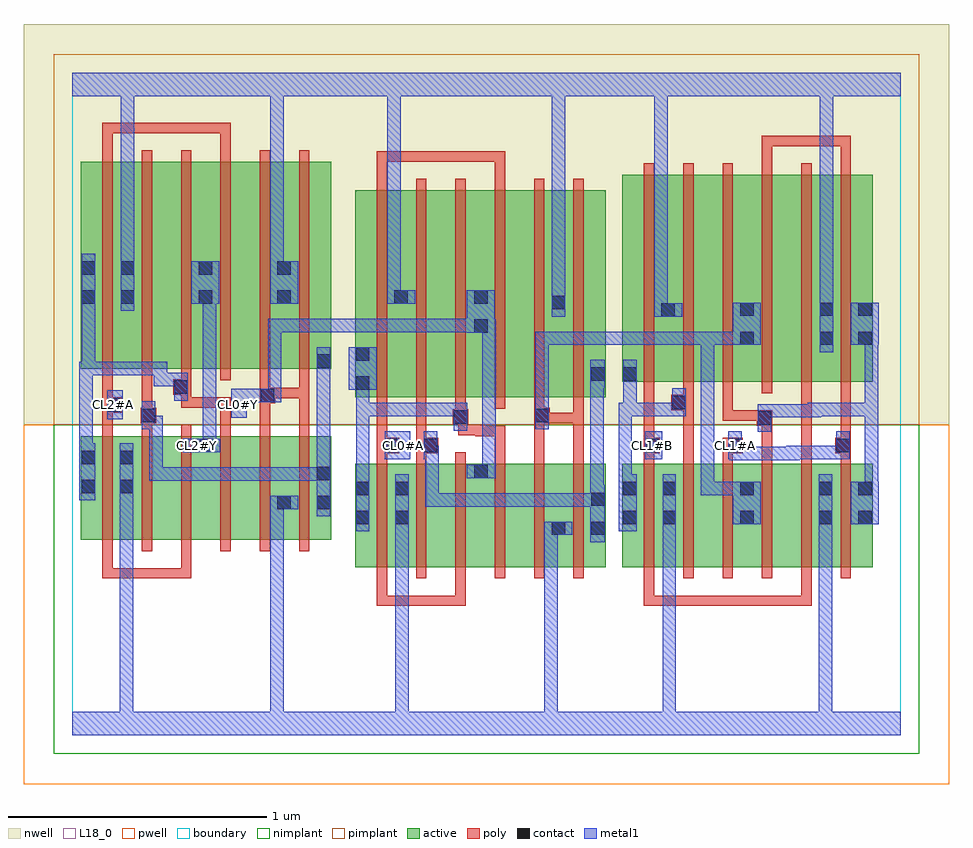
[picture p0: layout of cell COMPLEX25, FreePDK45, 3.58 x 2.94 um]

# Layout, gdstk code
import gdstk
lib = gdstk.Library(unit=1e-6, precision=1e-09)
def R(c, l, rs):  # rectangles x0, y0, x1, y1
    for r in rs: c.add(gdstk.rectangle(r[:2], r[2:], *l))
def A(c, l, x, y, w, h, nx, ny, dx, dy):  # array of equal rectangles
    R(c, l, [(x+i*dx, y+j*dy, x+i*dx+w, y+j*dy+h) for i in range(nx) for j in range(ny)])
active = (1, 0)
pwell = (2, 0)
nwell = (3, 0)
nimplant = (4, 0)
pimplant = (5, 0)
poly = (9, 0)
contact = (10, 0)
metal1 = (11, 0)
L18_0 = (18, 0)
boundary = (235, 0)

complex25 = lib.new_cell('COMPLEX25')
R(complex25, active, [(1.092,0.65,1.304,1.05), (1.244,0.65,1.424,1.05), (1.424,0.65,1.608,1.05), (1.548,0.65,1.728,1.05), (1.728,0.65,1.908,1.05), (1.848,0.65,2.06,1.05), (1.848,0.65,1.908,0.83), (2.124,0.65,2.336,1.05), (2.276,0.65,2.456,1.05), (2.276,0.65,2.336,0.984), (2.456,0.65,2.636,1.05), (2.576,0.65,2.76,1.05), (2.76,0.65,2.94,1.05), (2.88,0.65,3.092,1.05), (0.032,0.756,0.092,1.156), (0.032,0.756,0.24,1.156), (0.18,0.756,0.364,1.156), (0.18,0.756,0.24,1.104), (0.364,0.756,0.548,1.156), (0.488,0.756,0.668,1.156), (0.488,0.756,0.548,1.156), (0.668,0.756,0.848,1.156), (0.788,0.756,1,1.156), (0.788,0.756,0.848,1.156), (0.94,0.756,1,1.156), (1.092,0.756,1.152,1.05), (1.244,0.756,1.304,0.984), (1.548,0.756,1.608,1.05), (2,0.756,2.06,1.05), (2.124,0.756,2.184,1.05), (2.576,0.756,2.636,0.984), (2.88,0.756,2.94,0.984), (3.032,0.756,3.092,1.05), (1.092,1.306,1.3,2.106), (1.092,1.306,1.152,2.044), (1.24,1.306,1.424,2.106), (1.424,1.306,1.608,2.106), (1.548,1.306,1.728,2.106), (1.548,1.306,1.608,2.044), (1.728,1.306,1.908,2.106), (1.848,1.306,2.06,2.106), (2,1.306,2.06,2.044), (1.24,1.34,1.3,2.044), (2.124,1.366,2.184,2.044), (2.124,1.366,2.332,2.166), (2.272,1.366,2.456,2.166), (2.456,1.366,2.636,2.166), (2.576,1.366,2.76,2.166), (2.76,1.366,2.944,2.166), (2.884,1.366,3.092,2.166), (3.032,1.366,3.092,2.044), (1.848,1.372,1.908,2.044), (0.032,1.416,0.244,2.216), (0.032,1.416,0.092,2.044), (0.184,1.416,0.364,2.216), (0.364,1.416,0.544,2.216), (0.484,1.416,0.668,2.216), (0.668,1.416,0.848,2.216), (0.788,1.416,1,2.216), (0.94,1.416,1,2.044), (2.576,1.504,2.636,2.044), (2.884,1.504,2.944,2.044), (2.272,1.614,2.332,2.044), (0.184,1.65,0.244,2.044), (0.484,1.65,0.544,2.044), (0.788,1.664,0.848,2.044)])
R(complex25, pwell, [(-0.188,-0.188,3.388,1.2)])
R(complex25, nwell, [(-0.188,1.2,3.388,2.748)])
R(complex25, nimplant, [(-0.072,-0.072,3.272,1.2)])
R(complex25, pimplant, [(-0.072,1.2,3.272,2.632)])
A(complex25, poly, 1.176, 0.606, 0.04, 0.488, 6, 1, 0.152, 0)
A(complex25, poly, 2.208, 0.606, 0.04, 0.488, 6, 1, 0.152, 0)
A(complex25, poly, 0.116, 0.712, 0.04, 0.488, 6, 1, 0.152, 0)
A(complex25, poly, 1.176, 1.262, 0.04, 0.888, 6, 1, 0.152, 0)
A(complex25, poly, 2.208, 1.322, 0.04, 0.888, 6, 1, 0.152, 0)
A(complex25, poly, 0.116, 1.372, 0.04, 0.888, 6, 1, 0.152, 0)
R(complex25, poly, [(1.176,0.5,1.216,0.646), (1.176,0.5,1.216,0.54), (1.176,0.5,1.216,0.54), (1.176,0.5,1.216,0.54), (1.176,0.5,1.384,0.54), (1.344,0.5,1.384,0.54), (1.344,0.5,1.384,0.54), (1.344,0.5,1.384,0.54), (1.344,0.5,1.52,0.54), (1.48,0.5,1.52,0.646), (1.48,0.5,1.52,0.54), (2.208,0.5,2.248,0.646), (2.208,0.5,2.248,0.54), (2.208,0.5,2.248,0.54), (2.208,0.5,2.248,0.54), (2.208,0.5,2.446,0.54), (2.406,0.5,2.446,0.54), (2.406,0.5,2.446,0.54), (2.406,0.5,2.446,0.54), (2.406,0.5,2.552,0.54), (2.512,0.5,2.552,0.54), (2.512,0.5,2.552,0.54), (2.512,0.5,2.552,0.54), (2.512,0.5,2.734,0.54), (2.694,0.5,2.734,0.54), (2.694,0.5,2.856,0.54), (2.816,0.5,2.856,0.646), (2.816,0.5,2.856,0.54), (2.816,0.5,2.856,0.54), (2.816,0.5,2.856,0.54), (0.116,0.606,0.156,0.752), (0.116,0.606,0.156,0.646), (0.116,0.606,0.156,0.646), (0.116,0.606,0.156,0.646), (0.116,0.606,0.324,0.646), (0.284,0.606,0.324,0.646), (0.284,0.606,0.324,0.646), (0.284,0.606,0.324,0.646), (0.284,0.606,0.46,0.646), (0.42,0.606,0.46,0.752), (0.42,0.606,0.46,0.646), (1.176,1.054,1.216,1.13), (1.328,1.054,1.368,1.13), (1.632,1.054,1.672,1.196), (1.784,1.054,1.824,1.246), (1.936,1.054,1.976,1.246), (2.208,1.054,2.248,1.13), (2.36,1.054,2.4,1.296), (2.512,1.054,2.552,1.13), (2.664,1.054,2.704,1.236), (2.816,1.054,2.856,1.262), (2.968,1.054,3.008,1.13), (1.176,1.09,1.262,1.15), (1.328,1.09,1.414,1.15), (2.208,1.09,2.27,1.15), (2.512,1.09,2.59,1.15), (2.948,1.09,3.008,1.15), (1.176,1.11,1.216,1.15), (1.176,1.11,1.216,1.15), (1.176,1.11,1.216,1.302), (1.328,1.11,1.368,1.15), (1.328,1.11,1.368,1.15), (1.328,1.11,1.368,1.302), (2.208,1.11,2.248,1.15), (2.208,1.11,2.248,1.15), (2.208,1.11,2.248,1.362), (2.968,1.11,3.008,1.15), (2.968,1.11,3.008,1.15), (2.968,1.11,3.008,1.362), (1.556,1.156,1.672,1.196), (1.556,1.156,1.596,1.2), (1.632,1.156,1.672,1.196), (0.116,1.16,0.156,1.286), (0.268,1.16,0.308,1.246), (0.572,1.16,0.612,1.306), (0.724,1.16,0.764,1.322), (0.876,1.16,0.916,1.342), (1.49,1.16,1.53,1.2), (1.49,1.16,1.596,1.2), (1.49,1.16,1.53,1.24), (2.644,1.196,2.704,1.256), (2.664,1.196,2.704,1.236), (2.664,1.196,2.704,1.236), (1.47,1.2,1.53,1.26), (0.264,1.206,0.324,1.266), (1.784,1.206,1.824,1.246), (1.784,1.206,1.824,1.246), (1.784,1.206,1.844,1.266), (1.804,1.206,1.844,1.246), (1.804,1.206,1.844,1.246), (1.804,1.206,1.976,1.246), (1.936,1.206,1.976,1.246), (1.936,1.206,1.976,1.246), (1.936,1.206,1.976,1.246), (1.936,1.206,1.976,1.302), (2.512,1.216,2.552,1.362), (2.512,1.216,2.552,1.256), (2.512,1.216,2.684,1.256), (2.644,1.216,2.684,1.256), (2.644,1.216,2.684,1.256), (1.48,1.22,1.52,1.302), (2.816,1.222,2.856,1.262), (2.816,1.222,2.856,1.262), (2.816,1.222,2.856,1.262), (2.816,1.222,2.856,1.362), (0.268,1.226,0.308,1.266), (0.268,1.226,0.308,1.266), (0.268,1.226,0.308,1.412), (1.784,1.226,1.824,1.302), (0.116,1.246,0.19,1.306), (2.314,1.256,2.4,1.316), (2.36,1.256,2.4,1.296), (2.36,1.256,2.4,1.296), (0.116,1.266,0.156,1.412), (0.116,1.266,0.156,1.306), (0.116,1.266,0.156,1.306), (0.42,1.266,0.612,1.306), (0.42,1.266,0.46,1.356), (0.572,1.266,0.612,1.306), (0.572,1.266,0.612,1.306), (0.572,1.266,0.612,1.306), (2.36,1.276,2.4,1.362), (0.724,1.282,0.764,1.322), (0.724,1.282,0.764,1.322), (0.724,1.282,0.784,1.342), (0.724,1.302,0.764,1.412), (0.744,1.302,0.916,1.342), (0.876,1.302,0.916,1.342), (0.876,1.302,0.916,1.342), (0.876,1.302,0.916,1.342), (0.876,1.302,0.916,1.342), (0.876,1.302,0.916,1.342), (0.876,1.302,0.916,1.412), (0.39,1.316,0.46,1.376), (0.42,1.316,0.46,1.356), (0.42,1.336,0.46,1.412), (1.176,2.11,1.216,2.256), (1.632,2.11,1.672,2.256), (2.664,2.17,2.704,2.316), (2.968,2.17,3.008,2.316), (1.176,2.216,1.216,2.256), (1.176,2.216,1.216,2.256), (1.176,2.216,1.216,2.256), (1.176,2.216,1.402,2.256), (1.362,2.216,1.402,2.256), (1.362,2.216,1.402,2.256), (1.362,2.216,1.402,2.256), (1.362,2.216,1.508,2.256), (1.468,2.216,1.508,2.256), (1.468,2.216,1.672,2.256), (1.632,2.216,1.672,2.256), (1.632,2.216,1.672,2.256), (1.632,2.216,1.672,2.256), (0.116,2.22,0.156,2.366), (0.572,2.22,0.612,2.366), (2.664,2.276,2.704,2.316), (2.664,2.276,2.84,2.316), (2.8,2.276,2.84,2.316), (2.8,2.276,2.84,2.316), (2.8,2.276,2.84,2.316), (2.8,2.276,3.008,2.316), (2.968,2.276,3.008,2.316), (2.968,2.276,3.008,2.316), (2.968,2.276,3.008,2.316), (0.116,2.326,0.156,2.366), (0.116,2.326,0.156,2.366), (0.116,2.326,0.156,2.366), (0.116,2.326,0.324,2.366), (0.284,2.326,0.324,2.366), (0.284,2.326,0.324,2.366), (0.284,2.326,0.324,2.366), (0.284,2.326,0.43,2.366), (0.39,2.326,0.43,2.366), (0.39,2.326,0.612,2.366), (0.572,2.326,0.612,2.366), (0.572,2.326,0.612,2.366), (0.572,2.326,0.612,2.366)])
R(complex25, contact, [(1.852,0.774,1.904,0.826), (2.004,0.774,2.056,0.826), (1.096,0.816,1.148,0.868), (1.248,0.816,1.3,0.868), (2.128,0.816,2.18,0.868), (2.28,0.816,2.332,0.868), (2.58,0.816,2.632,0.868), (2.884,0.816,2.936,0.868), (3.036,0.816,3.088,0.868), (0.792,0.874,0.844,0.926), (0.944,0.874,0.996,0.926), (2.004,0.886,2.056,0.938), (1.096,0.928,1.148,0.98), (1.248,0.928,1.3,0.98), (2.128,0.928,2.18,0.98), (2.28,0.928,2.332,0.98), (2.58,0.928,2.632,0.98), (2.884,0.928,2.936,0.98), (3.036,0.928,3.088,0.98), (0.036,0.936,0.088,0.988), (0.184,0.936,0.236,0.988), (0.944,0.986,0.996,1.038), (1.552,0.994,1.604,1.046), (0.036,1.048,0.088,1.1), (0.184,1.048,0.236,1.1), (0.492,1.094,0.544,1.146), (1.206,1.094,1.258,1.146), (1.358,1.094,1.41,1.146), (2.214,1.094,2.266,1.146), (2.534,1.094,2.586,1.146), (2.952,1.094,3.004,1.146), (2.648,1.2,2.7,1.252), (1.474,1.204,1.526,1.256), (0.268,1.21,0.32,1.262), (1.788,1.21,1.84,1.262), (0.134,1.25,0.186,1.302), (2.318,1.26,2.37,1.312), (0.728,1.286,0.78,1.338), (0.394,1.32,0.446,1.372), (1.096,1.336,1.148,1.388), (2.004,1.37,2.056,1.422), (2.128,1.37,2.18,1.422), (0.944,1.42,0.996,1.472), (1.096,1.448,1.148,1.5), (2.58,1.508,2.632,1.56), (2.888,1.508,2.94,1.56), (3.036,1.508,3.088,1.56), (1.552,1.556,1.604,1.608), (2.276,1.618,2.328,1.67), (2.58,1.62,2.632,1.672), (2.888,1.62,2.94,1.672), (3.036,1.62,3.088,1.672), (1.852,1.646,1.904,1.698), (0.036,1.668,0.088,1.72), (0.188,1.668,0.24,1.72), (0.488,1.668,0.54,1.72), (0.792,1.668,0.844,1.72), (1.244,1.668,1.296,1.72), (1.552,1.668,1.604,1.72), (0.036,1.78,0.088,1.832), (0.188,1.78,0.24,1.832), (0.488,1.78,0.54,1.832), (0.792,1.78,0.844,1.832)])
R(complex25, metal1, [(0,0,3.2,0.092), (0.184,0.04,0.236,0.092), (0.184,0.04,0.236,0.092), (0.184,0.04,0.236,0.092), (0.184,0.04,0.236,0.092), (0.184,0.04,0.236,0.092), (0.184,0.04,0.236,0.092), (0.184,0.04,0.236,0.092), (0.184,0.04,0.236,0.092), (0.184,0.04,0.236,0.092), (0.184,0.04,0.236,0.092), (0.184,0.04,0.236,0.96), (0.764,0.04,0.816,0.092), (0.764,0.04,0.816,0.092), (0.764,0.04,0.816,0.092), (0.764,0.04,0.816,0.092), (0.764,0.04,0.816,0.092), (0.764,0.04,0.816,0.092), (0.764,0.04,0.816,0.092), (0.764,0.04,0.816,0.092), (0.764,0.04,0.816,0.926), (1.248,0.04,1.3,0.092), (1.248,0.04,1.3,0.092), (1.248,0.04,1.3,0.092), (1.248,0.04,1.3,0.092), (1.248,0.04,1.3,0.092), (1.248,0.04,1.3,0.092), (1.248,0.04,1.3,0.092), (1.248,0.04,1.3,0.092), (1.248,0.04,1.3,0.092), (1.248,0.04,1.3,0.092), (1.248,0.04,1.3,0.092), (1.248,0.04,1.3,0.092), (1.248,0.04,1.3,0.84), (1.824,0.04,1.876,0.092), (1.824,0.04,1.876,0.092), (1.824,0.04,1.876,0.092), (1.824,0.04,1.876,0.092), (1.824,0.04,1.876,0.092), (1.824,0.04,1.876,0.092), (1.824,0.04,1.876,0.092), (1.824,0.04,1.876,0.092), (1.824,0.04,1.876,0.092), (1.824,0.04,1.876,0.092), (1.824,0.04,1.876,0.092), (1.824,0.04,1.876,0.092), (1.824,0.04,1.876,0.826), (2.28,0.04,2.332,0.092), (2.28,0.04,2.332,0.092), (2.28,0.04,2.332,0.092), (2.28,0.04,2.332,0.092), (2.28,0.04,2.332,0.092), (2.28,0.04,2.332,0.092), (2.28,0.04,2.332,0.092), (2.28,0.04,2.332,0.092), (2.28,0.04,2.332,0.092), (2.28,0.04,2.332,0.092), (2.28,0.04,2.332,0.84), (2.884,0.04,2.936,0.092), (2.884,0.04,2.936,0.092), (2.884,0.04,2.936,0.092), (2.884,0.04,2.936,0.092), (2.884,0.04,2.936,0.092), (2.884,0.04,2.936,0.092), (2.884,0.04,2.936,0.092), (2.884,0.04,2.936,0.092), (2.884,0.04,2.936,0.092), (2.884,0.04,2.936,0.092), (2.884,0.04,2.936,0.092), (2.884,0.04,2.936,0.092), (2.884,0.04,2.936,0.84), (2,0.746,2.056,0.966), (1.824,0.774,1.932,0.826), (1.096,0.788,1.148,1.008), (1.248,0.788,1.3,1.008), (2.11,0.788,2.18,1.008), (2.28,0.788,2.332,0.84), (2.28,0.788,2.332,0.84), (2.28,0.788,2.332,1.008), (2.884,0.788,2.936,1.008), (2.552,0.816,2.66,0.98), (3.008,0.816,3.116,0.98), (0.944,0.846,0.996,1.066), (0.764,0.874,0.816,0.926), (0.764,0.874,0.816,0.926), (0.764,0.874,0.816,0.926), (0.764,0.874,0.816,0.926), (0.764,0.874,0.872,0.926), (1.364,0.884,1.416,0.936), (1.364,0.884,1.556,0.936), (1.364,0.884,1.416,1.118), (1.504,0.884,1.556,0.936), (1.504,0.884,1.556,0.936), (1.504,0.884,1.556,0.936), (1.504,0.884,1.73,0.936), (1.678,0.884,1.73,0.936), (1.678,0.884,1.73,0.936), (1.678,0.884,1.73,0.936), (1.678,0.884,1.84,0.936), (1.788,0.884,1.84,0.936), (1.788,0.884,1.84,0.936), (1.788,0.884,1.84,0.936), (1.788,0.884,2.052,0.936), (2,0.884,2.052,0.936), (2,0.884,2.052,0.936), (0.026,0.908,0.088,1.128), (0.184,0.908,0.236,0.96), (0.184,0.908,0.236,0.96), (0.184,0.908,0.236,1.128), (2,0.914,2.052,0.966), (2,0.914,2.052,0.966), (2,0.914,2.052,0.966), (2,0.914,2.052,0.966), (2,0.914,2.052,0.966), (2,0.914,2.052,0.966), (2,0.914,2.052,1.394), (2.428,0.928,2.48,0.98), (2.428,0.928,2.48,0.98), (2.428,0.928,2.48,0.98), (2.428,0.928,2.48,0.98), (2.428,0.928,2.48,0.98), (2.428,0.928,2.604,0.98), (2.428,0.928,2.48,1.56), (3.062,0.928,3.114,1.284), (1.096,0.956,1.148,1.284), (2.11,0.956,2.162,1.284), (0.298,0.984,0.35,1.036), (0.298,0.984,0.476,1.036), (0.298,0.984,0.35,1.234), (0.424,0.984,0.476,1.036), (0.424,0.984,0.476,1.036), (0.424,0.984,0.476,1.036), (0.424,0.984,0.636,1.036), (0.584,0.984,0.636,1.036), (0.584,0.984,0.636,1.036), (0.584,0.984,0.636,1.036), (0.584,0.984,0.784,1.036), (0.732,0.984,0.784,1.036), (0.732,0.984,0.784,1.036), (0.732,0.984,0.784,1.036), (0.732,0.984,0.996,1.036), (0.944,0.984,0.996,1.036), (0.944,0.984,0.996,1.036), (1.524,0.994,1.632,1.046), (1.58,0.994,1.632,1.046), (1.58,0.994,1.636,1.046), (1.584,0.994,1.636,1.046), (1.584,0.994,1.636,1.046), (1.584,0.994,1.636,1.608), (0.944,1.014,0.996,1.066), (0.944,1.014,0.996,1.066), (0.944,1.014,0.996,1.066), (0.944,1.014,0.996,1.066), (0.944,1.014,0.996,1.066), (0.944,1.014,0.996,1.066), (0.944,1.014,0.996,1.444), (2.538,1.062,2.59,1.118), (2.538,1.062,2.7,1.114), (2.648,1.062,2.7,1.114), (2.648,1.062,2.7,1.114), (2.648,1.062,2.7,1.114), (2.648,1.062,2.81,1.114), (2.758,1.062,2.81,1.118), (1.206,1.066,1.306,1.174), (1.358,1.066,1.41,1.174), (1.358,1.066,1.416,1.118), (1.364,1.066,1.416,1.118), (1.364,1.066,1.416,1.118), (1.364,1.066,1.416,1.118), (2.214,1.066,2.278,1.174), (2.534,1.066,2.586,1.174), (2.534,1.066,2.59,1.118), (2.758,1.066,2.81,1.118), (2.758,1.066,2.81,1.118), (2.758,1.066,3.004,1.118), (2.952,1.066,3.004,1.174), (0.026,1.076,0.078,1.444), (0.426,1.094,0.556,1.146), (0.464,1.094,0.572,1.146), (0.504,1.094,0.556,1.146), (0.504,1.094,0.556,1.146), (0.504,1.094,0.556,1.146), (0.504,1.094,0.556,1.72), (2.648,1.172,2.7,1.28), (1.474,1.176,1.526,1.284), (0.268,1.182,0.32,1.29), (0.268,1.182,0.35,1.234), (0.298,1.182,0.35,1.234), (0.298,1.182,0.35,1.234), (0.298,1.182,0.35,1.234), (1.788,1.182,1.84,1.29), (0.134,1.222,0.194,1.334), (0.614,1.226,0.674,1.338), (2.648,1.228,2.7,1.28), (2.648,1.228,2.7,1.28), (2.648,1.228,2.894,1.28), (2.842,1.228,2.894,1.284), (1.096,1.232,1.148,1.284), (1.096,1.232,1.148,1.284), (1.096,1.232,1.148,1.284), (1.096,1.232,1.148,1.284), (1.096,1.232,1.148,1.284), (1.096,1.232,1.306,1.284), (1.096,1.232,1.148,1.388), (1.254,1.232,1.306,1.284), (1.254,1.232,1.416,1.284), (1.364,1.232,1.416,1.284), (1.364,1.232,1.416,1.284), (1.364,1.232,1.416,1.284), (1.364,1.232,1.526,1.284), (2.11,1.232,2.162,1.284), (2.11,1.232,2.162,1.284), (2.11,1.232,2.18,1.284), (2.128,1.232,2.18,1.284), (2.128,1.232,2.18,1.284), (2.128,1.232,2.37,1.284), (2.128,1.232,2.18,1.394), (2.318,1.232,2.37,1.284), (2.318,1.232,2.37,1.284), (2.318,1.232,2.37,1.34), (2.842,1.232,2.894,1.284), (2.842,1.232,2.894,1.284), (2.842,1.232,3.114,1.284), (3.062,1.232,3.114,1.56), (3.062,1.232,3.114,1.284), (3.062,1.232,3.114,1.284), (3.062,1.232,3.114,1.284), (3.062,1.232,3.114,1.284), (3.062,1.232,3.114,1.284), (1.788,1.238,1.84,1.29), (1.788,1.238,1.84,1.29), (1.788,1.238,1.84,1.56), (0.622,1.286,0.752,1.338), (0.7,1.286,0.808,1.338), (0.756,1.286,0.808,1.338), (0.756,1.286,0.808,1.338), (0.756,1.286,0.808,1.338), (0.756,1.286,0.808,1.338), (0.756,1.286,0.808,1.61), (0.394,1.292,0.446,1.4), (1.068,1.336,1.176,1.5), (2,1.342,2.056,1.45), (2.128,1.342,2.18,1.45), (0.314,1.348,0.446,1.4), (0.314,1.348,0.366,1.444), (0.026,1.392,0.078,1.444), (0.026,1.392,0.078,1.444), (0.026,1.392,0.088,1.444), (0.036,1.392,0.088,1.444), (0.036,1.392,0.088,1.444), (0.036,1.392,0.24,1.444), (0.036,1.392,0.088,1.692), (0.188,1.392,0.24,1.444), (0.188,1.392,0.24,1.444), (0.188,1.392,0.24,1.444), (0.188,1.392,0.366,1.444), (0.944,1.392,0.996,1.5), (2.888,1.48,2.94,1.7), (1.788,1.508,1.84,1.56), (1.788,1.508,1.84,1.56), (1.788,1.508,1.84,1.56), (1.788,1.508,2.052,1.56), (2,1.508,2.052,1.56), (2,1.508,2.052,1.56), (2,1.508,2.052,1.56), (2,1.508,2.166,1.56), (2.114,1.508,2.166,1.56), (2.114,1.508,2.166,1.56), (2.114,1.508,2.166,1.56), (2.114,1.508,2.37,1.56), (2.318,1.508,2.37,1.56), (2.318,1.508,2.37,1.56), (2.318,1.508,2.37,1.56), (2.318,1.508,2.48,1.56), (2.428,1.508,2.48,1.56), (2.428,1.508,2.48,1.56), (2.428,1.508,2.48,1.56), (2.428,1.508,2.48,1.56), (2.428,1.508,2.48,1.56), (2.428,1.508,2.48,1.56), (2.428,1.508,2.48,1.56), (2.428,1.508,2.604,1.56), (2.552,1.508,2.66,1.672), (3.008,1.508,3.116,1.672), (1.524,1.556,1.632,1.72), (1.58,1.556,1.632,1.608), (1.58,1.556,1.636,1.608), (0.756,1.558,0.808,1.61), (0.756,1.558,1.01,1.61), (0.958,1.558,1.01,1.61), (0.958,1.558,1.01,1.61), (0.958,1.558,1.01,1.61), (0.958,1.558,1.148,1.61), (1.096,1.558,1.148,1.61), (1.096,1.558,1.148,1.61), (1.096,1.558,1.148,1.61), (1.096,1.558,1.258,1.61), (1.206,1.558,1.258,1.61), (1.206,1.558,1.416,1.61), (1.364,1.558,1.416,1.61), (1.364,1.558,1.416,1.61), (1.364,1.558,1.416,1.61), (1.364,1.558,1.576,1.61), (1.524,1.558,1.576,1.61), (1.524,1.558,1.576,1.61), (1.852,1.618,1.904,1.726), (2.248,1.618,2.3,1.67), (2.248,1.618,2.3,1.67), (2.248,1.618,2.3,1.67), (2.248,1.618,2.3,1.67), (2.248,1.618,2.3,1.67), (2.248,1.618,2.3,1.67), (2.248,1.618,2.3,2.52), (2.248,1.618,2.356,1.67), (0.036,1.64,0.088,1.86), (0.188,1.64,0.24,1.86), (2.888,1.648,2.94,1.7), (2.888,1.648,2.94,1.7), (2.888,1.648,2.94,2.52), (0.46,1.668,0.568,1.832), (0.764,1.668,0.872,1.832), (1.216,1.668,1.268,1.72), (1.216,1.668,1.268,1.72), (1.216,1.668,1.324,1.72), (1.216,1.668,1.268,2.52), (1.852,1.674,1.904,1.726), (1.852,1.674,1.904,1.726), (1.852,1.674,1.904,1.726), (1.852,1.674,1.904,1.726), (1.852,1.674,1.904,1.726), (1.852,1.674,1.904,1.726), (1.852,1.674,1.904,2.52), (0.764,1.78,0.816,2.52), (0.188,1.808,0.24,2.52), (0,2.468,3.2,2.56), (0.188,2.468,0.24,2.52), (0.188,2.468,0.24,2.52), (0.188,2.468,0.24,2.52), (0.188,2.468,0.24,2.52), (0.188,2.468,0.24,2.52), (0.188,2.468,0.24,2.52), (0.188,2.468,0.24,2.52), (0.188,2.468,0.24,2.52), (0.764,2.468,0.816,2.52), (0.764,2.468,0.816,2.52), (0.764,2.468,0.816,2.52), (0.764,2.468,0.816,2.52), (0.764,2.468,0.816,2.52), (0.764,2.468,0.816,2.52), (0.764,2.468,0.816,2.52), (0.764,2.468,0.816,2.52), (1.216,2.468,1.268,2.52), (1.216,2.468,1.268,2.52), (1.216,2.468,1.268,2.52), (1.216,2.468,1.268,2.52), (1.216,2.468,1.268,2.52), (1.216,2.468,1.268,2.52), (1.852,2.468,1.904,2.52), (1.852,2.468,1.904,2.52), (2.248,2.468,2.3,2.52), (2.248,2.468,2.3,2.52), (2.888,2.468,2.94,2.52), (2.888,2.468,2.94,2.52), (2.888,2.468,2.94,2.52), (2.888,2.468,2.94,2.52), (2.888,2.468,2.94,2.52), (2.888,2.468,2.94,2.52)])
R(complex25, L18_0, [(0,0,3.2,0.092), (0.184,0.04,0.236,0.092), (0.184,0.04,0.236,0.092), (0.184,0.04,0.236,0.092), (0.184,0.04,0.236,0.092), (0.184,0.04,0.236,0.092), (0.184,0.04,0.236,0.092), (0.184,0.04,0.236,0.092), (0.184,0.04,0.236,0.092), (0.184,0.04,0.236,0.092), (0.184,0.04,0.236,0.092), (0.184,0.04,0.236,0.96), (0.764,0.04,0.816,0.092), (0.764,0.04,0.816,0.092), (0.764,0.04,0.816,0.092), (0.764,0.04,0.816,0.092), (0.764,0.04,0.816,0.092), (0.764,0.04,0.816,0.092), (0.764,0.04,0.816,0.092), (0.764,0.04,0.816,0.092), (0.764,0.04,0.816,0.926), (1.248,0.04,1.3,0.092), (1.248,0.04,1.3,0.092), (1.248,0.04,1.3,0.092), (1.248,0.04,1.3,0.092), (1.248,0.04,1.3,0.092), (1.248,0.04,1.3,0.092), (1.248,0.04,1.3,0.092), (1.248,0.04,1.3,0.092), (1.248,0.04,1.3,0.092), (1.248,0.04,1.3,0.092), (1.248,0.04,1.3,0.092), (1.248,0.04,1.3,0.092), (1.248,0.04,1.3,0.84), (1.824,0.04,1.876,0.092), (1.824,0.04,1.876,0.092), (1.824,0.04,1.876,0.092), (1.824,0.04,1.876,0.092), (1.824,0.04,1.876,0.092), (1.824,0.04,1.876,0.092), (1.824,0.04,1.876,0.092), (1.824,0.04,1.876,0.092), (1.824,0.04,1.876,0.092), (1.824,0.04,1.876,0.092), (1.824,0.04,1.876,0.092), (1.824,0.04,1.876,0.092), (1.824,0.04,1.876,0.826), (2.28,0.04,2.332,0.092), (2.28,0.04,2.332,0.092), (2.28,0.04,2.332,0.092), (2.28,0.04,2.332,0.092), (2.28,0.04,2.332,0.092), (2.28,0.04,2.332,0.092), (2.28,0.04,2.332,0.092), (2.28,0.04,2.332,0.092), (2.28,0.04,2.332,0.092), (2.28,0.04,2.332,0.092), (2.28,0.04,2.332,0.84), (2.884,0.04,2.936,0.092), (2.884,0.04,2.936,0.092), (2.884,0.04,2.936,0.092), (2.884,0.04,2.936,0.092), (2.884,0.04,2.936,0.092), (2.884,0.04,2.936,0.092), (2.884,0.04,2.936,0.092), (2.884,0.04,2.936,0.092), (2.884,0.04,2.936,0.092), (2.884,0.04,2.936,0.092), (2.884,0.04,2.936,0.092), (2.884,0.04,2.936,0.092), (2.884,0.04,2.936,0.84), (1.824,0.774,1.932,0.826), (1.248,0.788,1.3,1.008), (2.28,0.788,2.332,0.84), (2.28,0.788,2.332,0.84), (2.28,0.788,2.332,1.008), (2.884,0.788,2.936,1.008), (0.764,0.874,0.816,0.926), (0.764,0.874,0.816,0.926), (0.764,0.874,0.816,0.926), (0.764,0.874,0.816,0.926), (0.764,0.874,0.872,0.926), (0.184,0.908,0.236,0.96), (0.184,0.908,0.236,0.96), (0.184,0.908,0.236,1.128), (1.524,0.994,1.632,1.046), (1.58,0.994,1.632,1.046), (1.58,0.994,1.636,1.046), (1.584,0.994,1.636,1.046), (1.584,0.994,1.636,1.046), (1.584,0.994,1.636,1.608), (2.538,1.062,2.7,1.114), (2.538,1.062,2.59,1.118), (2.648,1.062,2.7,1.114), (2.648,1.062,2.7,1.114), (2.648,1.062,2.7,1.114), (2.648,1.062,2.81,1.114), (2.758,1.062,2.81,1.118), (1.206,1.066,1.306,1.174), (2.214,1.066,2.278,1.174), (2.534,1.066,2.59,1.118), (2.534,1.066,2.586,1.174), (2.758,1.066,2.81,1.118), (2.758,1.066,2.81,1.118), (2.758,1.066,3.004,1.118), (2.952,1.066,3.004,1.174), (0.426,1.094,0.556,1.146), (0.454,1.094,0.506,1.146), (0.464,1.094,0.572,1.146), (0.504,1.094,0.556,1.146), (0.504,1.094,0.556,1.146), (0.504,1.094,0.556,1.146), (0.504,1.094,0.556,1.72), (1.254,1.094,1.306,1.146), (2.214,1.094,2.266,1.146), (2.534,1.094,2.586,1.146), (0.134,1.222,0.194,1.334), (0.614,1.226,0.674,1.338), (0.134,1.254,0.186,1.306), (0.614,1.254,0.666,1.306), (0.622,1.286,0.752,1.338), (0.7,1.286,0.808,1.338), (0.756,1.286,0.808,1.338), (0.756,1.286,0.808,1.338), (0.756,1.286,0.808,1.338), (0.756,1.286,0.808,1.338), (0.756,1.286,0.808,1.61), (2.888,1.48,2.94,1.7), (1.524,1.556,1.632,1.72), (1.58,1.556,1.632,1.608), (1.58,1.556,1.636,1.608), (0.756,1.558,0.808,1.61), (0.756,1.558,1.01,1.61), (0.958,1.558,1.01,1.61), (0.958,1.558,1.01,1.61), (0.958,1.558,1.01,1.61), (0.958,1.558,1.148,1.61), (1.096,1.558,1.148,1.61), (1.096,1.558,1.148,1.61), (1.096,1.558,1.148,1.61), (1.096,1.558,1.258,1.61), (1.206,1.558,1.258,1.61), (1.206,1.558,1.416,1.61), (1.364,1.558,1.416,1.61), (1.364,1.558,1.416,1.61), (1.364,1.558,1.416,1.61), (1.364,1.558,1.576,1.61), (1.524,1.558,1.576,1.61), (1.524,1.558,1.576,1.61), (1.852,1.618,1.904,1.726), (2.248,1.618,2.3,1.67), (2.248,1.618,2.3,1.67), (2.248,1.618,2.3,1.67), (2.248,1.618,2.3,1.67), (2.248,1.618,2.3,1.67), (2.248,1.618,2.3,1.67), (2.248,1.618,2.356,1.67), (2.248,1.618,2.3,2.52), (0.188,1.64,0.24,1.86), (2.888,1.648,2.94,1.7), (2.888,1.648,2.94,1.7), (2.888,1.648,2.94,2.52), (0.46,1.668,0.568,1.832), (0.764,1.668,0.872,1.832), (1.216,1.668,1.268,1.72), (1.216,1.668,1.268,1.72), (1.216,1.668,1.324,1.72), (1.216,1.668,1.268,2.52), (1.852,1.674,1.904,1.726), (1.852,1.674,1.904,1.726), (1.852,1.674,1.904,1.726), (1.852,1.674,1.904,1.726), (1.852,1.674,1.904,1.726), (1.852,1.674,1.904,1.726), (1.852,1.674,1.904,2.52), (0.764,1.78,0.816,2.52), (0.188,1.808,0.24,2.52), (0,2.468,3.2,2.56), (0.188,2.468,0.24,2.52), (0.188,2.468,0.24,2.52), (0.188,2.468,0.24,2.52), (0.188,2.468,0.24,2.52), (0.188,2.468,0.24,2.52), (0.188,2.468,0.24,2.52), (0.188,2.468,0.24,2.52), (0.188,2.468,0.24,2.52), (0.764,2.468,0.816,2.52), (0.764,2.468,0.816,2.52), (0.764,2.468,0.816,2.52), (0.764,2.468,0.816,2.52), (0.764,2.468,0.816,2.52), (0.764,2.468,0.816,2.52), (0.764,2.468,0.816,2.52), (0.764,2.468,0.816,2.52), (1.216,2.468,1.268,2.52), (1.216,2.468,1.268,2.52), (1.216,2.468,1.268,2.52), (1.216,2.468,1.268,2.52), (1.216,2.468,1.268,2.52), (1.216,2.468,1.268,2.52), (1.852,2.468,1.904,2.52), (1.852,2.468,1.904,2.52), (2.248,2.468,2.3,2.52), (2.248,2.468,2.3,2.52), (2.888,2.468,2.94,2.52), (2.888,2.468,2.94,2.52), (2.888,2.468,2.94,2.52), (2.888,2.468,2.94,2.52), (2.888,2.468,2.94,2.52), (2.888,2.468,2.94,2.52)])
R(complex25, boundary, [(0,0,3.2,2.56)])
complex25.add(gdstk.Label('CL0#A', (1.28,1.12), layer=11, texttype=0))
complex25.add(gdstk.Label('CL0#Y', (0.64,1.28), layer=11, texttype=0))
complex25.add(gdstk.Label('CL1#A', (2.56,1.12), layer=11, texttype=0))
complex25.add(gdstk.Label('CL1#B', (2.24,1.12), layer=11, texttype=0))
complex25.add(gdstk.Label('CL2#A', (0.16,1.28), layer=11, texttype=0))
complex25.add(gdstk.Label('CL2#Y', (0.48,1.12), layer=11, texttype=0))

lib.write_gds('COMPLEX25.gds')
